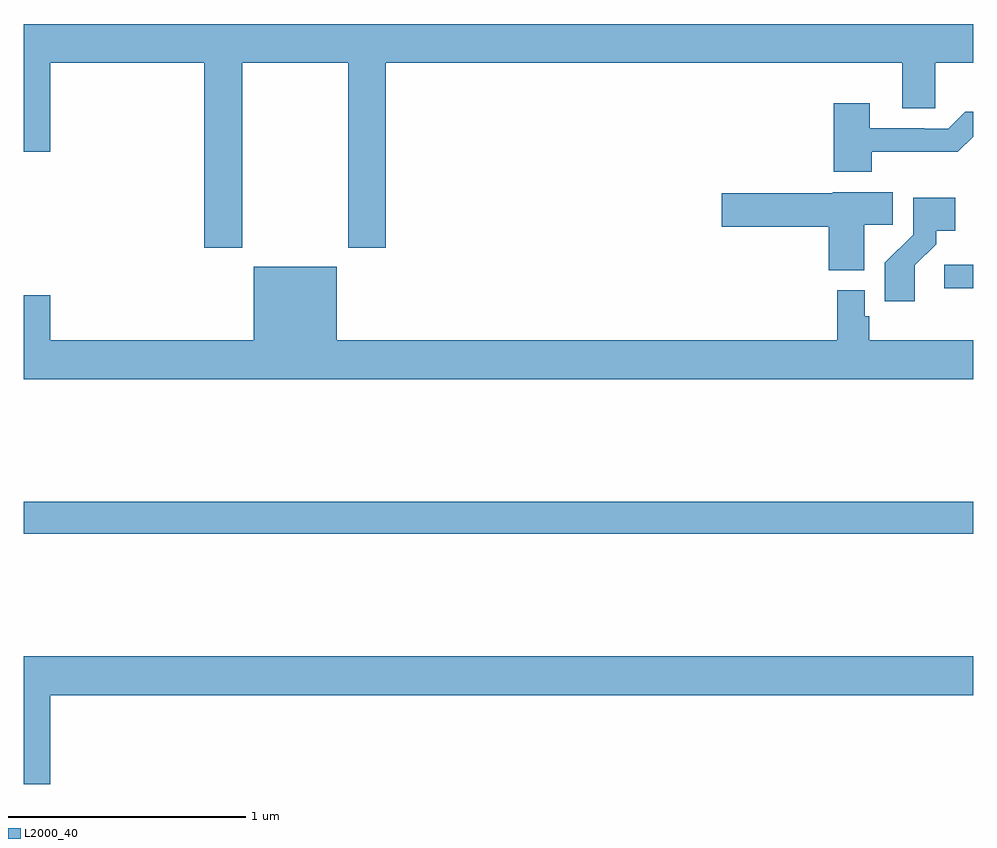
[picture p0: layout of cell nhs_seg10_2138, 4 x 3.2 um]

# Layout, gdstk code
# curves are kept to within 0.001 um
import gdstk
lib = gdstk.Library(unit=1e-6, precision=1e-09)
def R(c, l, rs):  # rectangles x0, y0, x1, y1
    for r in rs: c.add(gdstk.rectangle(r[:2], r[2:], *l))
def P(c, l, *ps):  # polygons
    for p in ps: c.add(gdstk.Polygon(p, *l))
L2000_40 = (2000, 40)

nhs_seg10_2138 = lib.new_cell('nhs_seg10_2138')
R(nhs_seg10_2138, L2000_40, [(225,1255.708,229,1255.844), (228.879,1256.743,229,1256.841)])
P(nhs_seg10_2138, L2000_40, [(225,1257.318),(225.112,1257.318),(225.112,1257.692),(225.761,1257.692),(225.761,1256.913),(225.921,1256.913),(225.921,1257.692),(226.366,1257.692),(226.366,1256.913),(226.526,1256.913),(226.526,1257.692),(228.701,1257.692),(228.701,1257.502),(228.84,1257.502),(228.84,1257.692),(229,1257.692),(229,1257.856),(225,1257.856)],
  [(228.573,1257.318),(228.935,1257.317),(229,1257.382),(229,1257.487),(228.967,1257.487),(228.894,1257.414),(228.794,1257.414),(228.794,1257.417),(228.565,1257.417),(228.565,1257.523),(228.413,1257.523),(228.413,1257.233),(228.573,1257.233)],
  [(228.541,1257.01),(228.662,1257.01),(228.662,1257.148),(228.408,1257.148),(228.408,1257.143),(227.94,1257.143),(227.94,1257.001),(228.392,1257.001),(228.392,1256.819),(228.541,1256.819)],
  [(228.754,1256.839),(228.844,1256.929),(228.844,1256.984),(228.925,1256.984),(228.925,1257.124),(228.747,1257.124),(228.747,1256.969),(228.628,1256.85),(228.628,1256.688),(228.754,1256.688)],
  [(229,1256.524),(228.563,1256.524),(228.563,1256.625),(228.543,1256.625),(228.543,1256.734),(228.427,1256.734),(228.427,1256.524),(226.318,1256.524),(226.318,1256.833),(225.968,1256.833),(225.968,1256.524),(225.112,1256.524),(225.112,1256.713),(225,1256.713),(225,1256.36),(229,1256.36)],
  [(225.112,1255.028),(229,1255.028),(229,1255.192),(225,1255.192),(225,1254.654),(225.112,1254.654)])

lib.write_gds('nhs_seg10_2138.gds')
